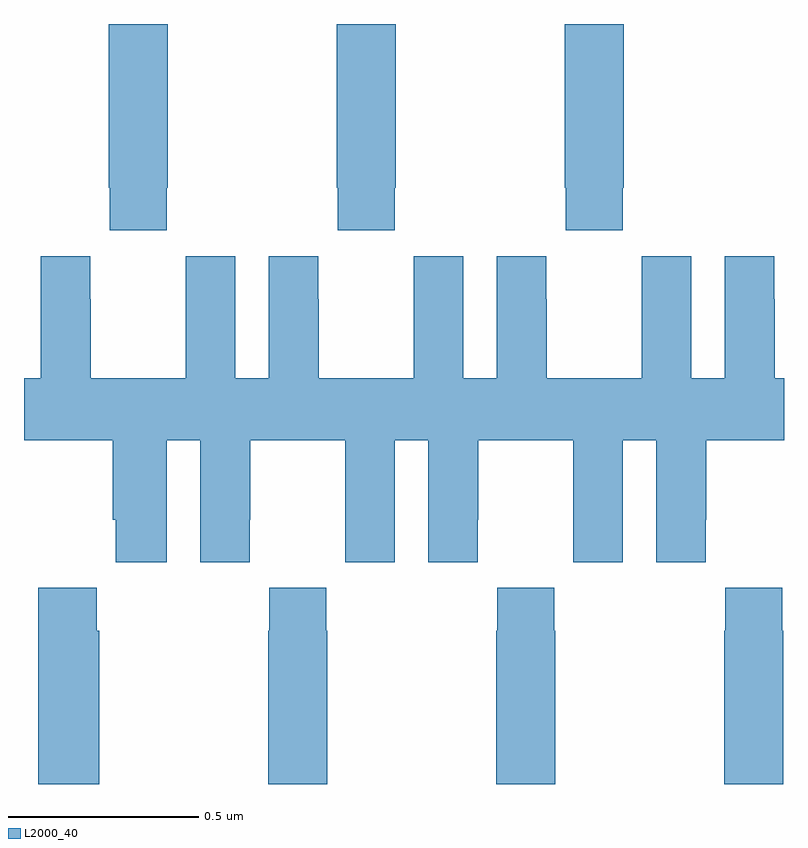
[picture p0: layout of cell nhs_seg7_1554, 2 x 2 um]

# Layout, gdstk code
import gdstk
lib = gdstk.Library(unit=1e-6, precision=1e-09)
def P(c, l, *ps):  # polygons
    for p in ps: c.add(gdstk.Polygon(p, *l))
L2000_40 = (2000, 40)

nhs_seg7_1554 = lib.new_cell('nhs_seg7_1554')
P(nhs_seg7_1554, L2000_40, [(132.975,1046.569),(132.978,1046.569),(132.978,1047),(132.823,1047),(132.823,1046.569),(132.825,1046.569),(132.825,1046.457),(132.975,1046.457)],
  [(133.575,1046.569),(133.578,1046.569),(133.578,1047),(133.423,1047),(133.423,1046.569),(133.425,1046.569),(133.425,1046.457),(133.575,1046.457)],
  [(132.375,1046.569),(132.378,1046.569),(132.378,1047),(132.223,1047),(132.223,1046.569),(132.225,1046.569),(132.225,1046.457),(132.375,1046.457)],
  [(132.376,1045.904),(132.464,1045.904),(132.464,1045.584),(132.594,1045.584),(132.594,1045.696),(132.595,1045.696),(132.595,1045.904),(132.845,1045.904),(132.845,1045.696),(132.846,1045.696),(132.846,1045.584),(132.976,1045.584),(132.976,1045.904),(133.064,1045.904),(133.064,1045.584),(133.194,1045.584),(133.194,1045.696),(133.195,1045.696),(133.195,1045.904),(133.445,1045.904),(133.445,1045.696),(133.446,1045.696),(133.446,1045.584),(133.576,1045.584),(133.576,1045.904),(133.664,1045.904),(133.664,1045.584),(133.794,1045.584),(133.794,1045.696),(133.795,1045.696),(133.795,1045.904),(134,1045.904),(134,1046.068),(133.975,1046.068),(133.975,1046.276),(133.974,1046.276),(133.974,1046.389),(133.844,1046.389),(133.844,1046.068),(133.756,1046.068),(133.756,1046.389),(133.626,1046.389),(133.626,1046.276),(133.625,1046.276),(133.625,1046.068),(133.375,1046.068),(133.375,1046.276),(133.374,1046.276),(133.374,1046.389),(133.244,1046.389),(133.244,1046.068),(133.156,1046.068),(133.156,1046.389),(133.026,1046.389),(133.026,1046.276),(133.025,1046.276),(133.025,1046.068),(132.775,1046.068),(132.775,1046.276),(132.774,1046.276),(132.774,1046.389),(132.644,1046.389),(132.644,1046.068),(132.556,1046.068),(132.556,1046.389),(132.426,1046.389),(132.426,1046.276),(132.425,1046.276),(132.425,1046.068),(132.175,1046.068),(132.175,1046.276),(132.174,1046.276),(132.174,1046.389),(132.044,1046.389),(132.044,1046.068),(132,1046.068),(132,1045.904),(132.233,1045.904),(132.233,1045.696),(132.242,1045.696),(132.242,1045.584),(132.376,1045.584)],
  [(132.798,1045.403),(132.795,1045.403),(132.795,1045.516),(132.645,1045.516),(132.645,1045.403),(132.643,1045.403),(132.643,1045),(132.798,1045)],
  [(132.198,1045.403),(132.191,1045.403),(132.191,1045.516),(132.038,1045.516),(132.038,1045),(132.198,1045)],
  [(133.398,1045.403),(133.395,1045.403),(133.395,1045.516),(133.245,1045.516),(133.245,1045.403),(133.243,1045.403),(133.243,1045),(133.398,1045)],
  [(133.998,1045.403),(133.995,1045.403),(133.995,1045.516),(133.845,1045.516),(133.845,1045.403),(133.843,1045.403),(133.843,1045),(133.998,1045)])

lib.write_gds('nhs_seg7_1554.gds')
